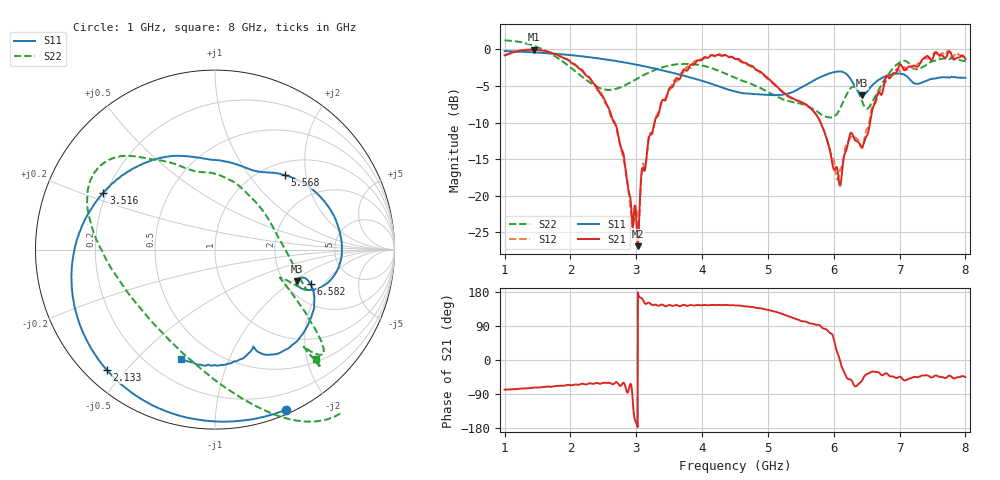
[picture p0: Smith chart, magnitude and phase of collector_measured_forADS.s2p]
# GHz S MA R 50
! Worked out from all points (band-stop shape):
!   1601 points, 1 GHz to 8 GHz, reference 50 ohm
!   highest |S21| = -0.01 dB at 1.442 GHz (marker M1); lowest = -26.9 dB at 3.021 GHz (marker M2)
!   |S21| within 3 dB of the highest: start of sweep to 2.196 GHz; 3.703 GHz to 4.884 GHz (1.181 GHz wide, 27.5 % of centre)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
!   lowest |S11| = -6.3 dB at 6.429 GHz (marker M3), VSWR 2.90, Z = 116 - j53.1 ohm
!   |S11| at or under -10 dB: nowhere
!   |S22| runs from -9.3 to 1.2 dB; largest |S21 - S12| = 0.12
!   S11 on the Smith chart (normalised r, x): 1 GHz: 0.04, -1.53; 2.133 GHz: 0.06, -0.45; 3.516 GHz: 0.19, +0.23; 5.568 GHz: 1.24, +1.52; 6.582 GHz: 2.66, -1.51; 8 GHz: 0.33, -0.68
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1  0.9751 -66.2  0.9116 -78.1  0.9111 -78.2  1.153 -50.7
1.441875  0.9552 -92.8  0.9985 -72.9  0.9952 -73.5  1.061 -64.0
2.133125  0.9017 -131.9  0.7399 -65.2  0.747 -64.0  0.6751 -95.8
2.168125  0.8985 -133.8  0.7293 -62.7  0.7198 -64.2  0.6552 -98.4
2.68875  0.8346 -161.9  0.304 -58.7  0.2994 -60.2  0.5378 -151.1
2.93375  0.7983 -175.1  0.06904 -79.0  0.068 -94.6  0.6046 -173.6
3.02125  0.7829 -179.8  0.04507 -177.1  0.06454 -178.0  0.6322 -179.8
3.095625  0.7725 176.1  0.1552 160.2  0.1618 161.0  0.6621 175.4
3.33625  0.7298 162.9  0.3578 143.2  0.3718 144.8  0.7393 163.2
3.515625  0.6984 153.0  0.5506 144.8  0.5369 143.8  0.7781 155.9
4.10625  0.589 119.3  0.8881 144.7  0.9015 145.3  0.7542 137.1
4.5  0.516 98.6  0.8626 143.7  0.8621 143.7  0.6412 127.3
5.5675  0.5686 46.9  0.424 101.8  0.4215 100.0  0.4157 86.9
5.668125  0.6043 39.7  0.3881 96.1  0.3874 94.9  0.3959 77.1
6.088125  0.7075 0.5  0.1184 2.8  0.1441 2.3  0.3883 0.9
6.254375  0.6288 -19.3  0.2675 -51.1  0.2497 -56.5  0.5419 -22.6
6.429375  0.4867 -21.0  0.2153 -54.0  0.2105 -55.9  0.442 -23.2
6.5825  0.5668 -19.9  0.3786 -30.6  0.4074 -28.2  0.4343 -26.3
6.83625  0.6653 -38.5  0.6376 -40.5  0.6294 -41.1  0.6818 -37.4
7.09  0.6637 -61.7  0.7248 -53.8  0.7414 -52.0  0.8326 -44.6
7.53625  0.6319 -80.1  0.9415 -41.4  0.9579 -40.5  0.8369 -48.1
8  0.6398 -107.3  0.8577 -45.4  0.8507 -45.9  0.8317 -47.3
